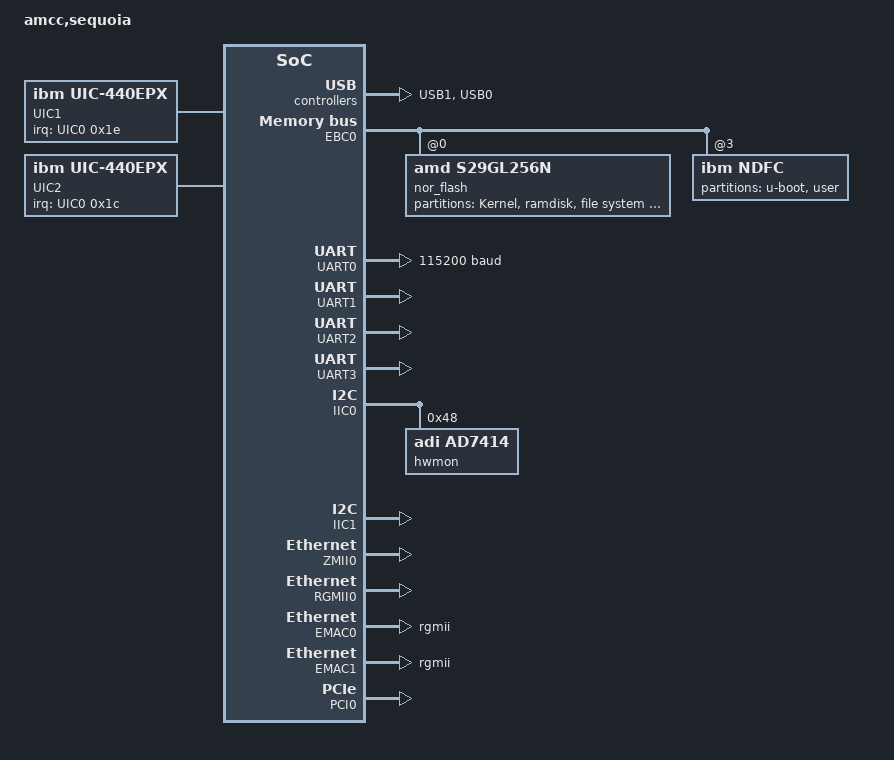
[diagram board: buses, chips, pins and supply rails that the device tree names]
/*
 * Device Tree Source for AMCC Sequoia
 *
 * Based on Bamboo code by Josh Boyer <jwboyer@linux.vnet.ibm.com>
 * Copyright (c) 2006, 2007 IBM Corp.
 *
 * FIXME: Draft only!
 *
 * This file is licensed under the terms of the GNU General Public
 * License version 2.  This program is licensed "as is" without
 * any warranty of any kind, whether express or implied.
 *
 */

/dts-v1/;

/ {
	#address-cells = <2>;
	#size-cells = <1>;
	model = "amcc,sequoia";
	compatible = "amcc,sequoia";
	dcr-parent = <&{/cpus/cpu@0}>;

	aliases {
		ethernet0 = &EMAC0;
		ethernet1 = &EMAC1;
		serial0 = &UART0;
		serial1 = &UART1;
		serial2 = &UART2;
		serial3 = &UART3;
	};

	cpus {
		#address-cells = <1>;
		#size-cells = <0>;

		cpu@0 {
			device_type = "cpu";
			model = "PowerPC,440EPx";
			reg = <0x00000000>;
			clock-frequency = <0>; /* Filled in by zImage */
			timebase-frequency = <0>; /* Filled in by zImage */
			i-cache-line-size = <32>;
			d-cache-line-size = <32>;
			i-cache-size = <32768>;
			d-cache-size = <32768>;
			dcr-controller;
			dcr-access-method = "native";
		};
	};

	memory {
		device_type = "memory";
		reg = <0x00000000 0x00000000 0x00000000>; /* Filled in by zImage */
	};

	UIC0: interrupt-controller0 {
		compatible = "ibm,uic-440epx","ibm,uic";
		interrupt-controller;
		cell-index = <0>;
		dcr-reg = <0x0c0 0x009>;
		#address-cells = <0>;
		#size-cells = <0>;
		#interrupt-cells = <2>;
	};

	UIC1: interrupt-controller1 {
		compatible = "ibm,uic-440epx","ibm,uic";
		interrupt-controller;
		cell-index = <1>;
		dcr-reg = <0x0d0 0x009>;
		#address-cells = <0>;
		#size-cells = <0>;
		#interrupt-cells = <2>;
		interrupts = <0x1e 0x4 0x1f 0x4>; /* cascade */
		interrupt-parent = <&UIC0>;
	};

	UIC2: interrupt-controller2 {
		compatible = "ibm,uic-440epx","ibm,uic";
		interrupt-controller;
		cell-index = <2>;
		dcr-reg = <0x0e0 0x009>;
		#address-cells = <0>;
		#size-cells = <0>;
		#interrupt-cells = <2>;
		interrupts = <0x1c 0x4 0x1d 0x4>; /* cascade */
		interrupt-parent = <&UIC0>;
	};

	SDR0: sdr {
		compatible = "ibm,sdr-440epx", "ibm,sdr-440ep";
		dcr-reg = <0x00e 0x002>;
	};

	CPR0: cpr {
		compatible = "ibm,cpr-440epx", "ibm,cpr-440ep";
		dcr-reg = <0x00c 0x002>;
	};

	plb {
		compatible = "ibm,plb-440epx", "ibm,plb4";
		#address-cells = <2>;
		#size-cells = <1>;
		ranges;
		clock-frequency = <0>; /* Filled in by zImage */

		SDRAM0: sdram {
			compatible = "ibm,sdram-440epx", "ibm,sdram-44x-ddr2denali";
			dcr-reg = <0x010 0x002>;
		};

		CRYPTO: crypto@e0100000 {
			compatible = "amcc,ppc440epx-crypto","amcc,ppc4xx-crypto";
			reg = <0 0xE0100000 0x80400>;
			interrupt-parent = <&UIC0>;
			interrupts = <0x17 0x4>;
		};

		rng@e0120000 {
			compatible = "amcc,ppc440epx-rng","amcc,ppc4xx-rng";
			reg = <0 0xE0120000 0x150>;
		};

		DMA0: dma {
			compatible = "ibm,dma-440epx", "ibm,dma-4xx";
			dcr-reg = <0x100 0x027>;
		};

		MAL0: mcmal {
			compatible = "ibm,mcmal-440epx", "ibm,mcmal2";
			dcr-reg = <0x180 0x062>;
			num-tx-chans = <2>;
			num-rx-chans = <2>;
			interrupt-parent = <&MAL0>;
			interrupts = <0x0 0x1 0x2 0x3 0x4>;
			#interrupt-cells = <1>;
			#address-cells = <0>;
			#size-cells = <0>;
			interrupt-map = </*TXEOB*/ 0x0 &UIC0 0xa 0x4
					/*RXEOB*/ 0x1 &UIC0 0xb 0x4
					/*SERR*/  0x2 &UIC1 0x0 0x4
					/*TXDE*/  0x3 &UIC1 0x1 0x4
					/*RXDE*/  0x4 &UIC1 0x2 0x4>;
			interrupt-map-mask = <0xffffffff>;
		};

		USB1: usb@e0000400 {
			compatible = "ibm,usb-ohci-440epx", "ohci-be";
			reg = <0x00000000 0xe0000400 0x00000060>;
			interrupt-parent = <&UIC0>;
			interrupts = <0x15 0x8>;
		};

		USB0: ehci@e0000300 {
			compatible = "ibm,usb-ehci-440epx", "usb-ehci";
			interrupt-parent = <&UIC0>;
			interrupts = <0x1a 0x4>;
			reg = <0x00000000 0xe0000300 0x00000090 0x00000000 0xe0000390 0x00000070>;
			big-endian;
		};

		POB0: opb {
		  	compatible = "ibm,opb-440epx", "ibm,opb";
			#address-cells = <1>;
			#size-cells = <1>;
		  	ranges = <0x00000000 0x00000001 0x00000000 0x80000000
			          0x80000000 0x00000001 0x80000000 0x80000000>;
		  	interrupt-parent = <&UIC1>;
		  	interrupts = <0x7 0x4>;
		  	clock-frequency = <0>; /* Filled in by zImage */

			EBC0: ebc {
				compatible = "ibm,ebc-440epx", "ibm,ebc";
				dcr-reg = <0x012 0x002>;
				#address-cells = <2>;
				#size-cells = <1>;
				clock-frequency = <0>; /* Filled in by zImage */
				interrupts = <0x5 0x1>;
				interrupt-parent = <&UIC1>;

				nor_flash@0,0 {
					compatible = "amd,s29gl256n", "cfi-flash";
					bank-width = <2>;
					reg = <0x00000000 0x00000000 0x04000000>;
					#address-cells = <1>;
					#size-cells = <1>;
					partition@0 {
						label = "Kernel";
						reg = <0x00000000 0x00180000>;
					};
					partition@180000 {
						label = "ramdisk";
						reg = <0x00180000 0x00200000>;
					};
					partition@380000 {
						label = "file system";
						reg = <0x00380000 0x03aa0000>;
					};
					partition@3e20000 {
						label = "kozio";
						reg = <0x03e20000 0x00140000>;
					};
					partition@3f60000 {
						label = "env";
						reg = <0x03f60000 0x00040000>;
					};
					partition@3fa0000 {
						label = "u-boot";
						reg = <0x03fa0000 0x00060000>;
					};
				};

				ndfc@3,0 {
					compatible = "ibm,ndfc";
					reg = <0x00000003 0x00000000 0x00002000>;
					ccr = <0x00001000>;
					bank-settings = <0x80002222>;
					#address-cells = <1>;
					#size-cells = <1>;

					nand {
						#address-cells = <1>;
						#size-cells = <1>;

						partition@0 {
							label = "u-boot";
							reg = <0x00000000 0x00084000>;
						};
						partition@84000 {
							label = "user";
							reg = <0x00084000 0x01f7c000>;
						};
					};
				};
			};

			UART0: serial@ef600300 {
		   		device_type = "serial";
		   		compatible = "ns16550";
		   		reg = <0xef600300 0x00000008>;
		   		virtual-reg = <0xef600300>;
		   		clock-frequency = <0>; /* Filled in by zImage */
		   		current-speed = <115200>;
		   		interrupt-parent = <&UIC0>;
		   		interrupts = <0x0 0x4>;
	   		};

			UART1: serial@ef600400 {
		   		device_type = "serial";
		   		compatible = "ns16550";
		   		reg = <0xef600400 0x00000008>;
		   		virtual-reg = <0xef600400>;
		   		clock-frequency = <0>;
		   		current-speed = <0>;
		   		interrupt-parent = <&UIC0>;
		   		interrupts = <0x1 0x4>;
	   		};

			UART2: serial@ef600500 {
		   		device_type = "serial";
		   		compatible = "ns16550";
		   		reg = <0xef600500 0x00000008>;
		   		virtual-reg = <0xef600500>;
		   		clock-frequency = <0>;
		   		current-speed = <0>;
		   		interrupt-parent = <&UIC1>;
		   		interrupts = <0x3 0x4>;
	   		};

			UART3: serial@ef600600 {
		   		device_type = "serial";
		   		compatible = "ns16550";
		   		reg = <0xef600600 0x00000008>;
		   		virtual-reg = <0xef600600>;
		   		clock-frequency = <0>;
		   		current-speed = <0>;
		   		interrupt-parent = <&UIC1>;
		   		interrupts = <0x4 0x4>;
	   		};

			IIC0: i2c@ef600700 {
				#address-cells = <1>;
				#size-cells = <0>;
				compatible = "ibm,iic-440epx", "ibm,iic";
				reg = <0xef600700 0x00000014>;
				interrupt-parent = <&UIC0>;
				interrupts = <0x2 0x4>;

				hwmon@48 {
					compatible = "adi,ad7414";
					reg = <0x48>;
				};
			};

			IIC1: i2c@ef600800 {
				#address-cells = <1>;
				#size-cells = <0>;
				compatible = "ibm,iic-440epx", "ibm,iic";
				reg = <0xef600800 0x00000014>;
				interrupt-parent = <&UIC0>;
				interrupts = <0x7 0x4>;
			};

			ZMII0: emac-zmii@ef600d00 {
				compatible = "ibm,zmii-440epx", "ibm,zmii";
				reg = <0xef600d00 0x0000000c>;
			};

			RGMII0: emac-rgmii@ef601000 {
				compatible = "ibm,rgmii-440epx", "ibm,rgmii";
				reg = <0xef601000 0x00000008>;
				has-mdio;
			};

			EMAC0: ethernet@ef600e00 {
				device_type = "network";
				compatible = "ibm,emac-440epx", "ibm,emac4";
				interrupt-parent = <&EMAC0>;
				interrupts = <0x0 0x1>;
				#interrupt-cells = <1>;
				#address-cells = <0>;
				#size-cells = <0>;
				interrupt-map = </*Status*/ 0x0 &UIC0 0x18 0x4
						/*Wake*/  0x1 &UIC1 0x1d 0x4>;
				reg = <0xef600e00 0x00000074>;
				local-mac-address = [000000000000];
				mal-device = <&MAL0>;
				mal-tx-channel = <0>;
				mal-rx-channel = <0>;
				cell-index = <0>;
				max-frame-size = <9000>;
				rx-fifo-size = <4096>;
				tx-fifo-size = <2048>;
				phy-mode = "rgmii";
				phy-map = <0x00000000>;
				zmii-device = <&ZMII0>;
				zmii-channel = <0>;
				rgmii-device = <&RGMII0>;
				rgmii-channel = <0>;
				has-inverted-stacr-oc;
				has-new-stacr-staopc;
			};

			EMAC1: ethernet@ef600f00 {
				device_type = "network";
				compatible = "ibm,emac-440epx", "ibm,emac4";
				interrupt-parent = <&EMAC1>;
				interrupts = <0x0 0x1>;
				#interrupt-cells = <1>;
				#address-cells = <0>;
				#size-cells = <0>;
				interrupt-map = </*Status*/ 0x0 &UIC0 0x19 0x4
						/*Wake*/  0x1 &UIC1 0x1f 0x4>;
				reg = <0xef600f00 0x00000074>;
				local-mac-address = [000000000000];
				mal-device = <&MAL0>;
				mal-tx-channel = <1>;
				mal-rx-channel = <1>;
				cell-index = <1>;
				max-frame-size = <9000>;
				rx-fifo-size = <4096>;
				tx-fifo-size = <2048>;
				phy-mode = "rgmii";
				phy-map = <0x00000000>;
				zmii-device = <&ZMII0>;
				zmii-channel = <1>;
				rgmii-device = <&RGMII0>;
				rgmii-channel = <1>;
				has-inverted-stacr-oc;
				has-new-stacr-staopc;
			};
		};

		PCI0: pci@1ec000000 {
			device_type = "pci";
			#interrupt-cells = <1>;
			#size-cells = <2>;
			#address-cells = <3>;
			compatible = "ibm,plb440epx-pci", "ibm,plb-pci";
			primary;
			reg = <0x00000001 0xeec00000 0x00000008	/* Config space access */
			       0x00000001 0xeed00000 0x00000004	/* IACK */
			       0x00000001 0xeed00000 0x00000004	/* Special cycle */
			       0x00000001 0xef400000 0x00000040>;	/* Internal registers */

			/* Outbound ranges, one memory and one IO,
			 * later cannot be changed. Chip supports a second
			 * IO range but we don't use it for now
			 * From the 440EPx user manual:
			 * PCI 1 Memory     1 8000 0000     1 BFFF FFFF     1GB
			 * I/O              1 E800 0000     1 E800 FFFF     64KB
			 * I/O              1 E880 0000     1 EBFF FFFF     56MB
			 */
			ranges = <0x02000000 0x00000000 0x80000000 0x00000001 0x80000000 0x00000000 0x40000000
				0x01000000 0x00000000 0x00000000 0x00000001 0xe8000000 0x00000000 0x00010000
				0x01000000 0x00000000 0x00000000 0x00000001 0xe8800000 0x00000000 0x03800000>;

			/* Inbound 2GB range starting at 0 */
			dma-ranges = <0x42000000 0x0 0x0 0x0 0x0 0x0 0x80000000>;

			/* All PCI interrupts are routed to IRQ 67 */
			interrupt-map-mask = <0x0 0x0 0x0 0x0>;
			interrupt-map = < 0x0 0x0 0x0 0x0 &UIC2 0x3 0x8 >;
		};
	};

	chosen {
		linux,stdout-path = "/plb/opb/serial@ef600300";
		bootargs = "console=ttyS0,115200";
	};
};
